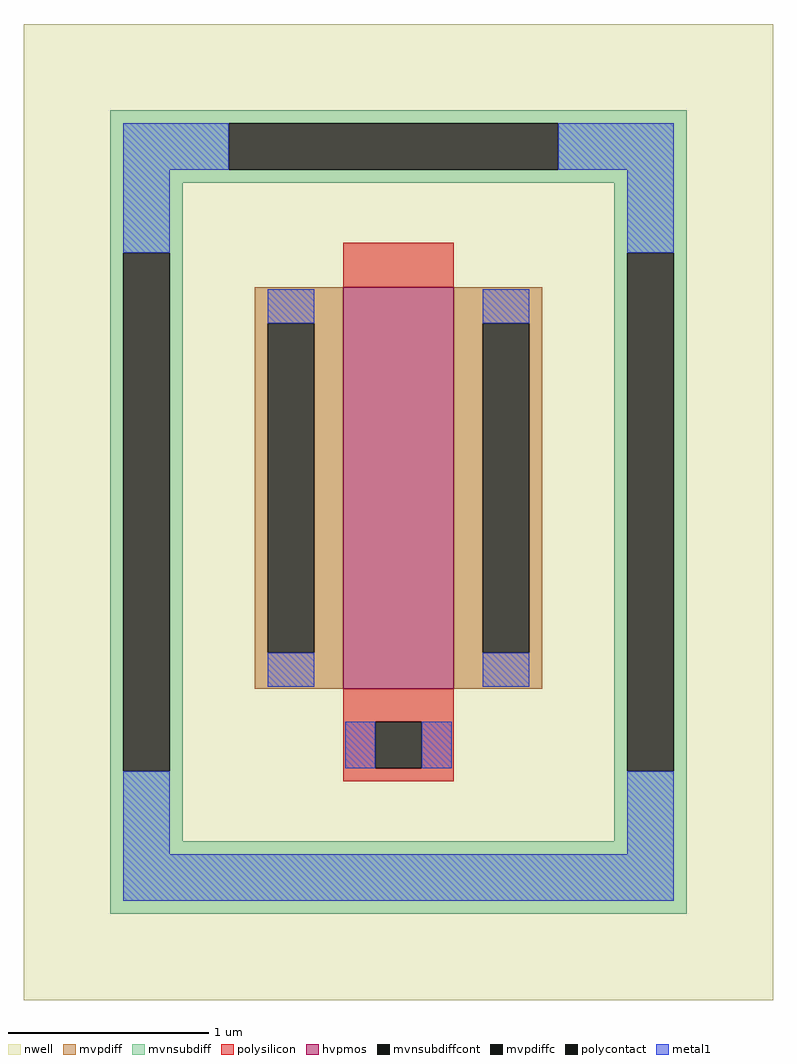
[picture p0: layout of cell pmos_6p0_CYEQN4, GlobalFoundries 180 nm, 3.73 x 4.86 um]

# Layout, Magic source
magic
tech gf180mcuD
magscale 1 10
<< nwell >>
rect -368 -486 378 486
<< hvpmos >>
rect -50 -176 60 224
<< mvpdiff >>
rect -138 188 -50 224
rect -138 -140 -125 188
rect -79 -140 -50 188
rect -138 -176 -50 -140
rect 60 188 148 224
rect 60 -140 89 188
rect 135 -140 148 188
rect 60 -176 148 -140
<< mvpdiffc >>
rect -125 -140 -79 188
rect 89 -140 135 188
<< mvnsubdiff >>
rect -282 387 292 400
rect -282 341 -164 387
rect 164 341 292 387
rect -282 328 292 341
rect -282 258 -210 328
rect -282 -258 -269 258
rect -223 -258 -210 258
rect 220 258 292 328
rect -282 -328 -210 -258
rect 220 -258 233 258
rect 279 -258 292 258
rect 220 -328 292 -258
rect -282 -400 292 -328
<< mvnsubdiffcont >>
rect -164 341 164 387
rect -269 -258 -223 258
rect 233 -258 279 258
<< polysilicon >>
rect -50 224 60 268
rect -50 -209 60 -176
rect -50 -255 -18 -209
rect 28 -255 60 -209
rect -50 -268 60 -255
<< polycontact >>
rect -18 -255 28 -209
<< metal1 >>
rect -269 341 -164 387
rect 164 341 279 387
rect -269 258 -223 341
rect 233 258 279 341
rect -125 188 -79 222
rect -125 -174 -79 -140
rect 89 188 135 222
rect 89 -174 135 -140
rect -48 -255 -18 -209
rect 28 -255 58 -209
rect -269 -341 -223 -258
rect 233 -341 279 -258
rect -269 -387 279 -341
<< properties >>
string FIXED_BBOX -246 -364 246 364
string GDS_END 83910
string GDS_FILE ../gds/simple_por.gds.gz
string GDS_START 80514
<< end >>
